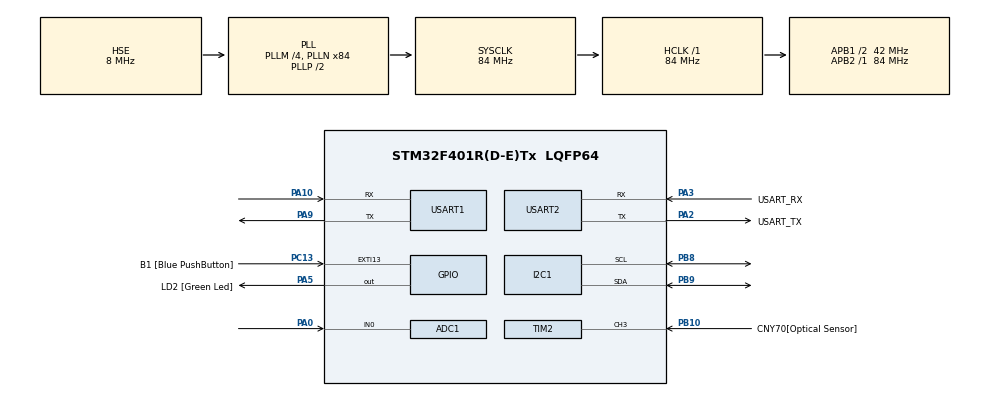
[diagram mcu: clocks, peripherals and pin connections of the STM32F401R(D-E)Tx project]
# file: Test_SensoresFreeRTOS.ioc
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ADC1.Channel-0\#ChannelRegularConversion=ADC_CHANNEL_0
ADC1.Channel-1\#ChannelRegularConversion=ADC_CHANNEL_0
ADC1.Channel-2\#ChannelRegularConversion=ADC_CHANNEL_0
ADC1.Channel-3\#ChannelRegularConversion=ADC_CHANNEL_0
ADC1.Channel-4\#ChannelRegularConversion=ADC_CHANNEL_0
ADC1.Channel-5\#ChannelRegularConversion=ADC_CHANNEL_0
ADC1.Channel-6\#ChannelRegularConversion=ADC_CHANNEL_0
ADC1.Channel-7\#ChannelRegularConversion=ADC_CHANNEL_0
ADC1.ClockPrescaler=ADC_CLOCK_SYNC_PCLK_DIV8
ADC1.ContinuousConvMode=ENABLE
ADC1.DMAContinuousRequests=ENABLE
ADC1.EOCSelection=ADC_EOC_SEQ_CONV
ADC1.NbrOfConversion=8
ADC1.NbrOfConversionFlag=1
ADC1.Rank-0\#ChannelRegularConversion=1
ADC1.Rank-1\#ChannelRegularConversion=2
ADC1.Rank-2\#ChannelRegularConversion=3
ADC1.Rank-3\#ChannelRegularConversion=4
ADC1.Rank-4\#ChannelRegularConversion=5
ADC1.Rank-5\#ChannelRegularConversion=6
ADC1.Rank-6\#ChannelRegularConversion=7
ADC1.Rank-7\#ChannelRegularConversion=8
ADC1.SamplingTime-0\#ChannelRegularConversion=ADC_SAMPLETIME_480CYCLES
ADC1.SamplingTime-1\#ChannelRegularConversion=ADC_SAMPLETIME_480CYCLES
ADC1.SamplingTime-2\#ChannelRegularConversion=ADC_SAMPLETIME_480CYCLES
ADC1.SamplingTime-3\#ChannelRegularConversion=ADC_SAMPLETIME_480CYCLES
ADC1.SamplingTime-4\#ChannelRegularConversion=ADC_SAMPLETIME_480CYCLES
ADC1.SamplingTime-5\#ChannelRegularConversion=ADC_SAMPLETIME_480CYCLES
ADC1.SamplingTime-6\#ChannelRegularConversion=ADC_SAMPLETIME_480CYCLES
ADC1.SamplingTime-7\#ChannelRegularConversion=ADC_SAMPLETIME_480CYCLES
ADC1.ScanConvMode=ENABLE
ADC1.master=1
Dma.ADC1.0.Direction=DMA_PERIPH_TO_MEMORY
Dma.ADC1.0.FIFOMode=DMA_FIFOMODE_DISABLE
Dma.ADC1.0.Instance=DMA2_Stream0
Dma.ADC1.0.MemDataAlignment=DMA_MDATAALIGN_WORD
Dma.ADC1.0.MemInc=DMA_MINC_ENABLE
Dma.ADC1.0.Mode=DMA_CIRCULAR
Dma.ADC1.0.PeriphDataAlignment=DMA_PDATAALIGN_WORD
Dma.ADC1.0.PeriphInc=DMA_PINC_DISABLE
Dma.ADC1.0.Priority=DMA_PRIORITY_LOW
Dma.I2C1_RX.1.Direction=DMA_PERIPH_TO_MEMORY
Dma.I2C1_RX.1.FIFOMode=DMA_FIFOMODE_DISABLE
Dma.I2C1_RX.1.Instance=DMA1_Stream0
Dma.I2C1_RX.1.MemDataAlignment=DMA_MDATAALIGN_BYTE
Dma.I2C1_RX.1.MemInc=DMA_MINC_ENABLE
Dma.I2C1_RX.1.Mode=DMA_CIRCULAR
Dma.I2C1_RX.1.PeriphDataAlignment=DMA_PDATAALIGN_BYTE
Dma.I2C1_RX.1.PeriphInc=DMA_PINC_DISABLE
Dma.I2C1_RX.1.Priority=DMA_PRIORITY_LOW
Dma.I2C1_TX.2.Direction=DMA_MEMORY_TO_PERIPH
Dma.I2C1_TX.2.FIFOMode=DMA_FIFOMODE_DISABLE
Dma.I2C1_TX.2.Instance=DMA1_Stream6
Dma.I2C1_TX.2.MemDataAlignment=DMA_MDATAALIGN_BYTE
Dma.I2C1_TX.2.MemInc=DMA_MINC_ENABLE
Dma.I2C1_TX.2.Mode=DMA_CIRCULAR
Dma.I2C1_TX.2.PeriphDataAlignment=DMA_PDATAALIGN_BYTE
Dma.I2C1_TX.2.PeriphInc=DMA_PINC_DISABLE
Dma.I2C1_TX.2.Priority=DMA_PRIORITY_LOW
Dma.Request0=ADC1
Dma.Request1=I2C1_RX
Dma.Request2=I2C1_TX
FREERTOS.Tasks01=defaultTask,0,128,StartDefaultTask,Default,NULL,Dynamic,NULL,NULL
FREERTOS.configUSE_TIMERS=1
Mcu.Family=STM32F4
Mcu.Name=STM32F401R(D-E)Tx
Mcu.Package=LQFP64
NVIC.DMA1_Stream0_IRQn=true\:5\:0\:false\:false\:true\:true\:false\:true\:true
NVIC.DMA1_Stream6_IRQn=true\:5\:0\:false\:false\:true\:true\:false\:true\:true
NVIC.DMA2_Stream0_IRQn=true\:5\:0\:false\:false\:true\:true\:false\:true\:true
NVIC.I2C1_EV_IRQn=true\:5\:0\:false\:false\:true\:true\:true\:true\:true
NVIC.PriorityGroup=NVIC_PRIORITYGROUP_4
NVIC.TIM1_UP_TIM10_IRQn=true\:15\:0\:false\:false\:true\:false\:false\:true\:true
NVIC.TIM2_IRQn=true\:5\:0\:false\:false\:true\:true\:true\:true\:true
NVIC.TIM3_IRQn=true\:5\:0\:false\:false\:true\:true\:true\:true\:true
NVIC.TimeBase=TIM1_UP_TIM10_IRQn
NVIC.TimeBaseIP=TIM1
NVIC.USART1_IRQn=true\:5\:0\:false\:false\:true\:true\:true\:true\:true
PA0-WKUP.Signal=ADCx_IN0
PA10.Mode=Asynchronous
PA10.Signal=USART1_RX
PA13.GPIO_Label=TMS
PA13.Mode=Serial_Wire
PA13.Signal=SYS_JTMS-SWDIO
PA14.GPIO_Label=TCK
PA14.Mode=Serial_Wire
PA14.Signal=SYS_JTCK-SWCLK
PA2.GPIO_Label=USART_TX
PA2.GPIO_Mode=GPIO_MODE_AF_PP
PA2.GPIO_PuPd=GPIO_NOPULL
PA2.GPIO_Speed=GPIO_SPEED_FREQ_LOW
PA2.Mode=Asynchronous
PA2.Signal=USART2_TX
PA3.GPIO_Label=USART_RX
PA3.GPIO_Mode=GPIO_MODE_AF_PP
PA3.GPIO_PuPd=GPIO_NOPULL
PA3.GPIO_Speed=GPIO_SPEED_FREQ_LOW
PA3.Mode=Asynchronous
PA3.Signal=USART2_RX
PA5.GPIO_Label=LD2 [Green Led]
PA5.GPIO_Mode=GPIO_MODE_OUTPUT_PP
PA5.GPIO_PuPd=GPIO_NOPULL
PA5.GPIO_Speed=GPIO_SPEED_FREQ_LOW
PA5.Signal=GPIO_Output
PA9.Mode=Asynchronous
PA9.Signal=USART1_TX
PB10.GPIO_Label=CNY70[Optical Sensor]
PB10.Signal=S_TIM2_CH3
PB3.GPIO_Label=SWO
PB3.Signal=SYS_JTDO-SWO
PB8.Mode=I2C
PB8.Signal=I2C1_SCL
PB9.Mode=I2C
PB9.Signal=I2C1_SDA
PC13-ANTI_TAMP.GPIO_Label=B1 [Blue PushButton]
PC13-ANTI_TAMP.GPIO_ModeDefaultEXTI=GPIO_MODE_IT_FALLING
PC13-ANTI_TAMP.GPIO_PuPd=GPIO_NOPULL
PC13-ANTI_TAMP.Signal=GPXTI13
PC14-OSC32_IN.Mode=LSE-External-Oscillator
PC14-OSC32_IN.Signal=RCC_OSC32_IN
PC15-OSC32_OUT.Mode=LSE-External-Oscillator
PC15-OSC32_OUT.Signal=RCC_OSC32_OUT
PH0\ -\ OSC_IN.Mode=HSE-External-Clock-Source
PH0\ -\ OSC_IN.Signal=RCC_OSC_IN
PH1\ -\ OSC_OUT.Mode=HSE-External-Clock-Source
PH1\ -\ OSC_OUT.Signal=RCC_OSC_OUT
ProjectManager.HeapSize=0x200
ProjectManager.StackSize=0x400
ProjectManager.TargetToolchain=STM32CubeIDE
RCC.48MHZClocksFreq_Value=24000000
RCC.AHBFreq_Value=84000000
RCC.APB1CLKDivider=RCC_HCLK_DIV2
RCC.APB1Freq_Value=42000000
RCC.APB1TimFreq_Value=84000000
RCC.APB2Freq_Value=84000000
RCC.APB2TimFreq_Value=84000000
RCC.CortexFreq_Value=84000000
RCC.HCLKFreq_Value=84000000
RCC.HSE_VALUE=8000000
RCC.HSI_VALUE=16000000
RCC.PLLM=4
RCC.PLLN=84
RCC.PLLQ=7
RCC.PLLSourceVirtual=RCC_PLLSOURCE_HSE
RCC.SYSCLKFreq_VALUE=84000000
RCC.SYSCLKSource=RCC_SYSCLKSOURCE_PLLCLK
RCC.VCOOutputFreq_Value=168000000
SH.ADCx_IN0.0=ADC1_IN0,IN0
SH.S_TIM2_CH3.0=TIM2_CH3,Input_Capture3_from_TI3
TIM2.AutoReloadPreload=TIM_AUTORELOAD_PRELOAD_ENABLE
TIM2.Channel-Input_Capture3_from_TI3=TIM_CHANNEL_3
TIM2.ClockDivision=TIM_CLOCKDIVISION_DIV2
TIM2.Period=10000-1
TIM2.Prescaler=42000-1
TIM3.ClockDivision=TIM_CLOCKDIVISION_DIV2
TIM3.Period=60000-1
TIM3.Prescaler=42000-1
USART1.VirtualMode=VM_ASYNC
USART2.VirtualMode=VM_ASYNC
VP_FREERTOS_VS_CMSIS_V1.Mode=CMSIS_V1
VP_SYS_VS_tim1.Mode=TIM1
VP_TIM2_VS_ClockSourceINT.Mode=Internal
VP_TIM3_VS_ClockSourceINT.Mode=Internal
board=NUCLEO-F401RE

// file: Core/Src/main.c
/* USER CODE BEGIN Header */
/**
  ******************************************************************************
  * @file           : main.c
  * @brief          : Main program body
  ******************************************************************************
  * @attention
  *
  * Copyright (c) 2023 STMicroelectronics.
  * All rights reserved.
  *
  * This software is licensed under terms that can be found in the LICENSE file
  * in the root directory of this software component.
  * If no LICENSE file comes with this software, it is provided AS-IS.
  *
  ******************************************************************************
  */
/* USER CODE END Header */
#include "main.h"
#include "cmsis_os.h"

/* USER CODE BEGIN PTD */
typedef struct
{
	float Temperature;
	float Pressure;
	float Humidity;
	float Light;
	uint32_t AirQuality;
	float WindSpeed;
}SensedValues;
/* USER CODE END PTD */

/* USER CODE BEGIN PD */
#define CANT_PARAMETROS 6

#define MY_NETWORK "Fibertel WiFi364 2.4GHz"
#define MY_PASSWORD "00421019428"
//#define MY_NETWORK "Samsung"
//#define MY_PASSWORD "12341234"

#define THINGSPEAK_DELAY 20000 //En ms
/* USER CODE END PD */

ADC_HandleTypeDef hadc1;
DMA_HandleTypeDef hdma_adc1;

I2C_HandleTypeDef hi2c1;
DMA_HandleTypeDef hdma_i2c1_rx;
DMA_HandleTypeDef hdma_i2c1_tx;

TIM_HandleTypeDef htim2;
TIM_HandleTypeDef htim3;

UART_HandleTypeDef huart1;
UART_HandleTypeDef huart2;

osThreadId defaultTaskHandle;
/* USER CODE BEGIN PV */

SemaphoreHandle_t SEM_Mediciones;
SemaphoreHandle_t SEM_I2C;

//Estructura que va a guardar todas las mediciones
SensedValues MedicionesEstacion;
float dataToSend[CANT_PARAMETROS];

//Sensor de Gas
uint32_t ConversionGasADC;

//Sensor Optico
extern uint32_t rpmCNY70;

//Sensor de Presion
extern uint8_t chipID;
extern int32_t tRaw, pRaw, hRaw;
extern uint8_t RawData[8];
float Temperature, Pressure, Humidity;

extern uint8_t tmp[2];
float LuzDetectada;
/* USER CODE END PV */

void SystemClock_Config(void);
static void MX_GPIO_Init(void);
static void MX_DMA_Init(void);
static void MX_USART2_UART_Init(void);
static void MX_I2C1_Init(void);
static void MX_USART1_UART_Init(void);
static void MX_ADC1_Init(void);
static void MX_TIM2_Init(void);
static void MX_TIM3_Init(void);
void StartDefaultTask(void const * argument);

/* USER CODE BEGIN 0 */

void HAL_I2C_MemRxCpltCallback(I2C_HandleTypeDef *hi2c)
{
	BaseType_t CambioContexto= pdFALSE;
	if(hi2c == &hi2c1)
	{
		/* Calculate the Raw data for the parameters
		* Here the Pressure and Temperature are in 20 bit format and humidity in 16 bit format
		*/
		pRaw = (RawData[0]<<12)|(RawData[1]<<4)|(RawData[2]>>4);
		tRaw = (RawData[3]<<12)|(RawData[4]<<4)|(RawData[5]>>4);
		hRaw = (RawData[6]<<8)|(RawData[7]);

		xSemaphoreGiveFromISR(SEM_I2C, pdFALSE);
		portYIELD_FROM_ISR(CambioContexto);
	}
}

void HAL_I2C_MasterRxCpltCallback(I2C_HandleTypeDef *hi2c)
{
	float result;
	BaseType_t CambioContexto= pdFALSE;

	result = (tmp[0] << 8) | (tmp[1]);

	LuzDetectada = result / (float)BH1750_CONVERSION_FACTOR;

	xSemaphoreGiveFromISR(SEM_I2C, pdFALSE);
	portYIELD_FROM_ISR(CambioContexto);

}

void HAL_TIM_IC_CaptureCallback(TIM_HandleTypeDef *htim)
{
	CNY70_FlancosUp();
}

void Task_ReadSensors(void *pvParam)
{
	HAL_ADC_Start_DMA(&hadc1, &ConversionGasADC, 1);
	HAL_TIM_IC_Start_IT(&htim2, TIM_CHANNEL_3);
	HAL_TIM_Base_Start_IT(&htim3);

	while(1)
	{
		xSemaphoreTake(SEM_Mediciones, portMAX_DELAY);
		//BH1750_ReadLight(&MedicionesEstacion.Light);
		//BME280_Measure();
		MedicionesEstacion.Temperature = Temperature;
		MedicionesEstacion.Pressure = Pressure;
		MedicionesEstacion.Light= LuzDetectada;
		MedicionesEstacion.AirQuality= MQ135_NivelContaminacion(ConversionGasADC);
		MedicionesEstacion.WindSpeed= CNY70_MedicionVelocidad(rpmCNY70);

		xSemaphoreGive(SEM_Mediciones);
		vTaskDelay(pdMS_TO_TICKS(1000));
	}
}

void Task_Light(void *pvParam)
{
	while(1)
	{
		xSemaphoreTake(SEM_I2C, portMAX_DELAY);
		BH1750_ReadLight(&MedicionesEstacion.Light);
		//xSemaphoreGive(SEM_I2C);
		//vTaskDelay(pdMS_TO_TICKS(1000));
	}
}

void Task_Pressure(void *pvParam)
{
	while(1)
	{
		xSemaphoreTake(SEM_I2C, portMAX_DELAY);
		BME280_Measure();
		//xSemaphoreGive(SEM_I2C);
		//vTaskDelay(pdMS_TO_TICKS(1000));
	}
}

void Task_SendDataToThingspeak(void *pvParam)
{
	//Esta tarea debe ejecutarse cada 15segs como maximo
	vTaskDelay(pdMS_TO_TICKS(5000)); //Evito que entre primero esta tarea

	while(1)
	{
		xSemaphoreTake(SEM_Mediciones, portMAX_DELAY);
		dataToSend[0]= round(MedicionesEstacion.Temperature * 100)/100;
		dataToSend[1]= round(MedicionesEstacion.Humidity * 100)/100;
		dataToSend[2]= round(MedicionesEstacion.Pressure * 100)/100;
		dataToSend[3]= round(MedicionesEstacion.WindSpeed * 100)/100;
		dataToSend[4]= round(MedicionesEstacion.Light * 100)/100;
		dataToSend[5]= round(MedicionesEstacion.AirQuality * 100)/100;

		xSemaphoreGive(SEM_Mediciones);
		ESP_Send_Multi("GZ88XIL7XS30EM51", CANT_PARAMETROS, dataToSend);

		vTaskDelay(pdMS_TO_TICKS(THINGSPEAK_DELAY));
	}
}
/* USER CODE END 0 */

int main(void)
{

  /* MCU Configuration--------------------------------------------------------*/

  /* Reset of all peripherals, Initializes the Flash interface and the Systick. */
  HAL_Init();

  /* Configure the system clock */
  SystemClock_Config();

  /* Initialize all configured peripherals */
  MX_GPIO_Init();
  MX_DMA_Init();
  MX_USART2_UART_Init();
  MX_I2C1_Init();
  MX_USART1_UART_Init();
  MX_ADC1_Init();
  MX_TIM2_Init();
  MX_TIM3_Init();
  /* USER CODE BEGIN 2 */

  //Inicializacion BH1750
  BH1750_Init(&hi2c1);
  BH1750_SetMode(CONTINUOUS_HIGH_RES_MODE);

  //Inicializacion BMP280
  BME280_Config(OSRS_1, OSRS_4, OSRS_1, MODE_NORMAL, T_SB_0p5, IIR_16);

  //Inicializacion ESP01
  //ESP_Init(MY_NETWORK, MY_PASSWORD);

  //Inicializacion MQ135

  /* USER CODE END 2 */

  /* USER CODE BEGIN RTOS_SEMAPHORES */
  /* add semaphores, ... */

  SEM_Mediciones= xSemaphoreCreateBinary();
  SEM_I2C= xSemaphoreCreateBinary();

  xSemaphoreTake(SEM_Mediciones, 0);
  xSemaphoreGive(SEM_Mediciones);

  xSemaphoreTake(SEM_I2C, 0);
  xSemaphoreGive(SEM_I2C);

  /* USER CODE END RTOS_SEMAPHORES */

  /* Create the thread(s) */
  /* definition and creation of defaultTask */
  osThreadDef(defaultTask, StartDefaultTask, osPriorityNormal, 0, 128);
  defaultTaskHandle = osThreadCreate(osThread(defaultTask), NULL);

  /* USER CODE BEGIN RTOS_THREADS */
  /* add threads, ... */

  xTaskCreate(Task_ReadSensors, "ReadSensors", configMINIMAL_STACK_SIZE, NULL, tskIDLE_PRIORITY + 1, NULL);
  xTaskCreate(Task_Light, "Task_Light", configMINIMAL_STACK_SIZE, NULL, tskIDLE_PRIORITY + 1, NULL);
  xTaskCreate(Task_Pressure, "Task_Pressure", configMINIMAL_STACK_SIZE, NULL, tskIDLE_PRIORITY + 1, NULL);
  //xTaskCreate(Task_SendDataToThingspeak, "SendDataToThingspeak", configMINIMAL_STACK_SIZE*5, NULL, tskIDLE_PRIORITY + 2, NULL);

  vTaskStartScheduler();

  /* USER CODE END RTOS_THREADS */

  /* Start scheduler */
  osKernelStart();

  /* We should never get here as control is now taken by the scheduler */
  /* Infinite loop */
  while (1)
  {

  }
}

void SystemClock_Config(void)
{
  RCC_OscInitTypeDef RCC_OscInitStruct = {0};
  RCC_ClkInitTypeDef RCC_ClkInitStruct = {0};

  /** Configure the main internal regulator output voltage
  */
  __HAL_RCC_PWR_CLK_ENABLE();
  __HAL_PWR_VOLTAGESCALING_CONFIG(PWR_REGULATOR_VOLTAGE_SCALE2);

  /** Initializes the RCC Oscillators according to the specified parameters
  * in the RCC_OscInitTypeDef structure.
  */
  RCC_OscInitStruct.OscillatorType = RCC_OSCILLATORTYPE_HSE;
  RCC_OscInitStruct.HSEState = RCC_HSE_BYPASS;
  RCC_OscInitStruct.PLL.PLLState = RCC_PLL_ON;
  RCC_OscInitStruct.PLL.PLLSource = RCC_PLLSOURCE_HSE;
  RCC_OscInitStruct.PLL.PLLM = 4;
  RCC_OscInitStruct.PLL.PLLN = 84;
  RCC_OscInitStruct.PLL.PLLP = RCC_PLLP_DIV2;
  RCC_OscInitStruct.PLL.PLLQ = 7;
  if (HAL_RCC_OscConfig(&RCC_OscInitStruct) != HAL_OK)
  {
    Error_Handler();
  }

  /** Initializes the CPU, AHB and APB buses clocks
  */
  RCC_ClkInitStruct.ClockType = RCC_CLOCKTYPE_HCLK|RCC_CLOCKTYPE_SYSCLK
                              |RCC_CLOCKTYPE_PCLK1|RCC_CLOCKTYPE_PCLK2;
  RCC_ClkInitStruct.SYSCLKSource = RCC_SYSCLKSOURCE_PLLCLK;
  RCC_ClkInitStruct.AHBCLKDivider = RCC_SYSCLK_DIV1;
  RCC_ClkInitStruct.APB1CLKDivider = RCC_HCLK_DIV2;
  RCC_ClkInitStruct.APB2CLKDivider = RCC_HCLK_DIV1;

  if (HAL_RCC_ClockConfig(&RCC_ClkInitStruct, FLASH_LATENCY_2) != HAL_OK)
  {
    Error_Handler();
  }
}

static void MX_ADC1_Init(void)
{

  ADC_ChannelConfTypeDef sConfig = {0};

  /** Configure the global features of the ADC (Clock, Resolution, Data Alignment and number of conversion)
  */
  hadc1.Instance = ADC1;
  hadc1.Init.ClockPrescaler = ADC_CLOCK_SYNC_PCLK_DIV8;
  hadc1.Init.Resolution = ADC_RESOLUTION_12B;
  hadc1.Init.ScanConvMode = ENABLE;
  hadc1.Init.ContinuousConvMode = ENABLE;
  hadc1.Init.DiscontinuousConvMode = DISABLE;
  hadc1.Init.ExternalTrigConvEdge = ADC_EXTERNALTRIGCONVEDGE_NONE;
  hadc1.Init.ExternalTrigConv = ADC_SOFTWARE_START;
  hadc1.Init.DataAlign = ADC_DATAALIGN_RIGHT;
  hadc1.Init.NbrOfConversion = 8;
  hadc1.Init.DMAContinuousRequests = ENABLE;
  hadc1.Init.EOCSelection = ADC_EOC_SEQ_CONV;
  if (HAL_ADC_Init(&hadc1) != HAL_OK)
  {
    Error_Handler();
  }

  /** Configure for the selected ADC regular channel its corresponding rank in the sequencer and its sample time.
  */
  sConfig.Channel = ADC_CHANNEL_0;
  sConfig.Rank = 1;
  sConfig.SamplingTime = ADC_SAMPLETIME_480CYCLES;
  if (HAL_ADC_ConfigChannel(&hadc1, &sConfig) != HAL_OK)
  {
    Error_Handler();
  }

  /** Configure for the selected ADC regular channel its corresponding rank in the sequencer and its sample time.
  */
  sConfig.Rank = 2;
  if (HAL_ADC_ConfigChannel(&hadc1, &sConfig) != HAL_OK)
  {
    Error_Handler();
  }

  /** Configure for the selected ADC regular channel its corresponding rank in the sequencer and its sample time.
  */
  sConfig.Rank = 3;
  if (HAL_ADC_ConfigChannel(&hadc1, &sConfig) != HAL_OK)
  {
    Error_Handler();
  }

  /** Configure for the selected ADC regular channel its corresponding rank in the sequencer and its sample time.
  */
  sConfig.Rank = 4;
  if (HAL_ADC_ConfigChannel(&hadc1, &sConfig) != HAL_OK)
  {
    Error_Handler();
  }

  /** Configure for the selected ADC regular channel its corresponding rank in the sequencer and its sample time.
  */
  sConfig.Rank = 5;
  if (HAL_ADC_ConfigChannel(&hadc1, &sConfig) != HAL_OK)
  {
    Error_Handler();
  }

  /** Configure for the selected ADC regular channel its corresponding rank in the sequencer and its sample time.
  */
  sConfig.Rank = 6;
  if (HAL_ADC_ConfigChannel(&hadc1, &sConfig) != HAL_OK)
  {
    Error_Handler();
  }

  /** Configure for the selected ADC regular channel its corresponding rank in the sequencer and its sample time.
  */
  sConfig.Rank = 7;
  if (HAL_ADC_ConfigChannel(&hadc1, &sConfig) != HAL_OK)
  {
    Error_Handler();
  }

  /** Configure for the selected ADC regular channel its corresponding rank in the sequencer and its sample time.
  */
  sConfig.Rank = 8;
  if (HAL_ADC_ConfigChannel(&hadc1, &sConfig) != HAL_OK)
  {
    Error_Handler();
  }

}

static void MX_I2C1_Init(void)
{

  hi2c1.Instance = I2C1;
  hi2c1.Init.ClockSpeed = 100000;
  hi2c1.Init.DutyCycle = I2C_DUTYCYCLE_2;
  hi2c1.Init.OwnAddress1 = 0;
  hi2c1.Init.AddressingMode = I2C_ADDRESSINGMODE_7BIT;
  hi2c1.Init.DualAddressMode = I2C_DUALADDRESS_DISABLE;
  hi2c1.Init.OwnAddress2 = 0;
  hi2c1.Init.GeneralCallMode = I2C_GENERALCALL_DISABLE;
  hi2c1.Init.NoStretchMode = I2C_NOSTRETCH_DISABLE;
  if (HAL_I2C_Init(&hi2c1) != HAL_OK)
  {
    Error_Handler();
  }

}

static void MX_TIM2_Init(void)
{

  TIM_ClockConfigTypeDef sClockSourceConfig = {0};
  TIM_MasterConfigTypeDef sMasterConfig = {0};
  TIM_IC_InitTypeDef sConfigIC = {0};

  htim2.Instance = TIM2;
  htim2.Init.Prescaler = 42000-1;
  htim2.Init.CounterMode = TIM_COUNTERMODE_UP;
  htim2.Init.Period = 10000-1;
  htim2.Init.ClockDivision = TIM_CLOCKDIVISION_DIV2;
  htim2.Init.AutoReloadPreload = TIM_AUTORELOAD_PRELOAD_ENABLE;
  if (HAL_TIM_Base_Init(&htim2) != HAL_OK)
  {
    Error_Handler();
  }
  sClockSourceConfig.ClockSource = TIM_CLOCKSOURCE_INTERNAL;
  if (HAL_TIM_ConfigClockSource(&htim2, &sClockSourceConfig) != HAL_OK)
  {
    Error_Handler();
  }
  if (HAL_TIM_IC_Init(&htim2) != HAL_OK)
  {
    Error_Handler();
  }
  sMasterConfig.MasterOutputTrigger = TIM_TRGO_RESET;
  sMasterConfig.MasterSlaveMode = TIM_MASTERSLAVEMODE_DISABLE;
  if (HAL_TIMEx_MasterConfigSynchronization(&htim2, &sMasterConfig) != HAL_OK)
  {
    Error_Handler();
  }
  sConfigIC.ICPolarity = TIM_INPUTCHANNELPOLARITY_RISING;
  sConfigIC.ICSelection = TIM_ICSELECTION_DIRECTTI;
  sConfigIC.ICPrescaler = TIM_ICPSC_DIV1;
  sConfigIC.ICFilter = 0;
  if (HAL_TIM_IC_ConfigChannel(&htim2, &sConfigIC, TIM_CHANNEL_3) != HAL_OK)
  {
    Error_Handler();
  }

}

static void MX_TIM3_Init(void)
{

  TIM_ClockConfigTypeDef sClockSourceConfig = {0};
  TIM_MasterConfigTypeDef sMasterConfig = {0};

  htim3.Instance = TIM3;
  htim3.Init.Prescaler = 42000-1;
  htim3.Init.CounterMode = TIM_COUNTERMODE_UP;
  htim3.Init.Period = 60000-1;
  htim3.Init.ClockDivision = TIM_CLOCKDIVISION_DIV2;
  htim3.Init.AutoReloadPreload = TIM_AUTORELOAD_PRELOAD_DISABLE;
  if (HAL_TIM_Base_Init(&htim3) != HAL_OK)
  {
    Error_Handler();
  }
  sClockSourceConfig.ClockSource = TIM_CLOCKSOURCE_INTERNAL;
  if (HAL_TIM_ConfigClockSource(&htim3, &sClockSourceConfig) != HAL_OK)
  {
    Error_Handler();
  }
  sMasterConfig.MasterOutputTrigger = TIM_TRGO_RESET;
  sMasterConfig.MasterSlaveMode = TIM_MASTERSLAVEMODE_DISABLE;
  if (HAL_TIMEx_MasterConfigSynchronization(&htim3, &sMasterConfig) != HAL_OK)
  {
    Error_Handler();
  }

}

static void MX_USART1_UART_Init(void)
{

  huart1.Instance = USART1;
  huart1.Init.BaudRate = 115200;
  huart1.Init.WordLength = UART_WORDLENGTH_8B;
  huart1.Init.StopBits = UART_STOPBITS_1;
  huart1.Init.Parity = UART_PARITY_NONE;
  huart1.Init.Mode = UART_MODE_TX_RX;
  huart1.Init.HwFlowCtl = UART_HWCONTROL_NONE;
  huart1.Init.OverSampling = UART_OVERSAMPLING_16;
  if (HAL_UART_Init(&huart1) != HAL_OK)
  {
    Error_Handler();
  }

}

static void MX_USART2_UART_Init(void)
{

  huart2.Instance = USART2;
  huart2.Init.BaudRate = 115200;
  huart2.Init.WordLength = UART_WORDLENGTH_8B;
  huart2.Init.StopBits = UART_STOPBITS_1;
  huart2.Init.Parity = UART_PARITY_NONE;
  huart2.Init.Mode = UART_MODE_TX_RX;
  huart2.Init.HwFlowCtl = UART_HWCONTROL_NONE;
  huart2.Init.OverSampling = UART_OVERSAMPLING_16;
  if (HAL_UART_Init(&huart2) != HAL_OK)
  {
    Error_Handler();
  }

}

static void MX_DMA_Init(void)
{

  /* DMA controller clock enable */
  __HAL_RCC_DMA2_CLK_ENABLE();
  __HAL_RCC_DMA1_CLK_ENABLE();

  /* DMA interrupt init */
  /* DMA1_Stream0_IRQn interrupt configuration */
  HAL_NVIC_SetPriority(DMA1_Stream0_IRQn, 5, 0);
  HAL_NVIC_EnableIRQ(DMA1_Stream0_IRQn);
  /* DMA1_Stream6_IRQn interrupt configuration */
  HAL_NVIC_SetPriority(DMA1_Stream6_IRQn, 5, 0);
  HAL_NVIC_EnableIRQ(DMA1_Stream6_IRQn);
  /* DMA2_Stream0_IRQn interrupt configuration */
  HAL_NVIC_SetPriority(DMA2_Stream0_IRQn, 5, 0);
  HAL_NVIC_EnableIRQ(DMA2_Stream0_IRQn);

}

static void MX_GPIO_Init(void)
{
  GPIO_InitTypeDef GPIO_InitStruct = {0};

  /* GPIO Ports Clock Enable */
  __HAL_RCC_GPIOC_CLK_ENABLE();
  __HAL_RCC_GPIOH_CLK_ENABLE();
  __HAL_RCC_GPIOA_CLK_ENABLE();
  __HAL_RCC_GPIOB_CLK_ENABLE();

  /*Configure GPIO pin Output Level */
  HAL_GPIO_WritePin(LD2_GPIO_Port, LD2_Pin, GPIO_PIN_RESET);

  /*Configure GPIO pin : B1_Pin */
  GPIO_InitStruct.Pin = B1_Pin;
  GPIO_InitStruct.Mode = GPIO_MODE_IT_FALLING;
  GPIO_InitStruct.Pull = GPIO_NOPULL;
  HAL_GPIO_Init(B1_GPIO_Port, &GPIO_InitStruct);

  /*Configure GPIO pin : LD2_Pin */
  GPIO_InitStruct.Pin = LD2_Pin;
  GPIO_InitStruct.Mode = GPIO_MODE_OUTPUT_PP;
  GPIO_InitStruct.Pull = GPIO_NOPULL;
  GPIO_InitStruct.Speed = GPIO_SPEED_FREQ_LOW;
  HAL_GPIO_Init(LD2_GPIO_Port, &GPIO_InitStruct);

}

void StartDefaultTask(void const * argument)
{
  for(;;)
  {
    osDelay(1);
  }
}

void HAL_TIM_PeriodElapsedCallback(TIM_HandleTypeDef *htim)
{
  /* USER CODE BEGIN Callback 0 */
	if(htim == &htim3)
	{
		CNY70_TIM_Callback();
	}
  /* USER CODE END Callback 0 */
  if (htim->Instance == TIM1) {
    HAL_IncTick();
  }
}

void Error_Handler(void)
{
  __disable_irq();
  while (1)
  {
  }
}
